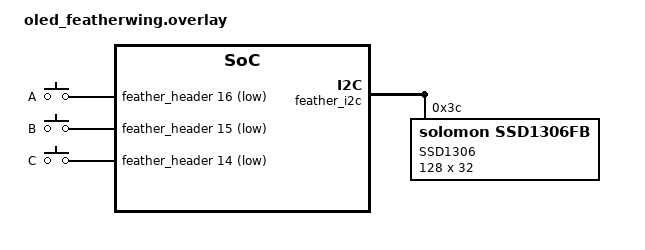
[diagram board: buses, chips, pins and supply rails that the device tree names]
/ {
	gpio_keys {
		compatible = "gpio-keys";
		button_a: btn_a {
			label = "A";
			gpios = <&feather_header 16 (GPIO_ACTIVE_LOW | GPIO_PULL_UP)>;
		};
		button_b: btn_b {
			label = "B";
			gpios = <&feather_header 15 (GPIO_ACTIVE_LOW | GPIO_PULL_UP)>;
		};
		button_c: btn_c {
			label = "C";
			gpios = <&feather_header 14 (GPIO_ACTIVE_LOW | GPIO_PULL_UP)>;
		};
	};

	aliases {
		swa = &button_a;
		swb = &button_b;
		swc = &button_c;
	};
};

&feather_i2c {
	status = "okay";

	ssd1306@3c {
		compatible = "solomon,ssd1306fb";
		reg = <0x3c>;
		label = "SSD1306";
		width = <128>;
		height = <32>;
		segment-offset = <0>;
		page-offset = <0>;
		display-offset = <0>;
		multiplex-ratio = <31>;
		segment-remap;
		com-invdir;
		com-sequential;
		prechargep = <0x22>;
	};
};
